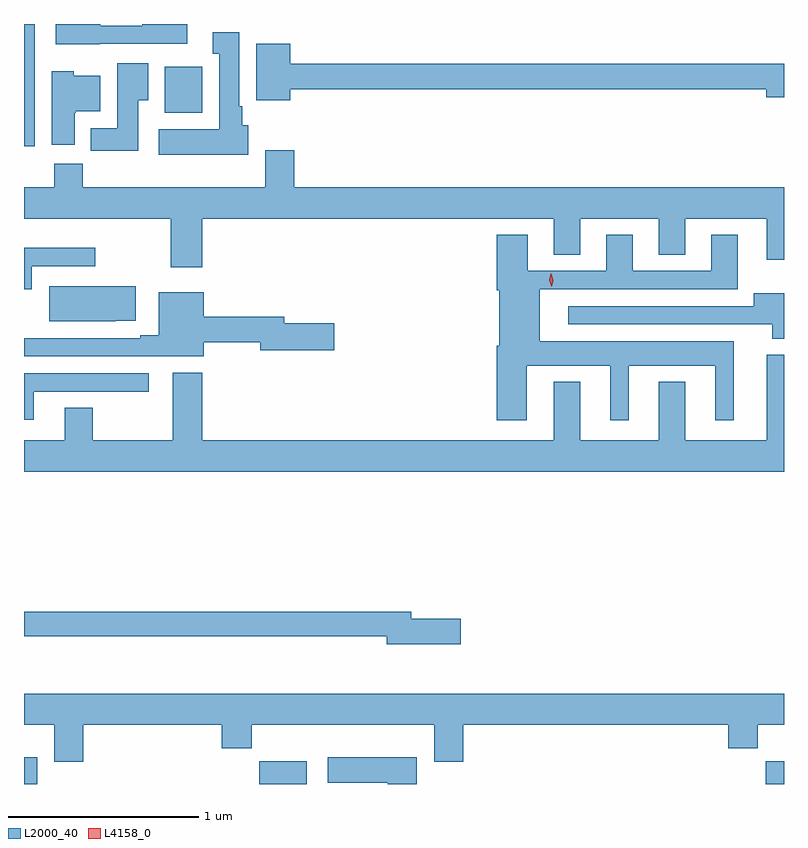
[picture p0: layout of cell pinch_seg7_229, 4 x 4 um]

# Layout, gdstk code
import gdstk
lib = gdstk.Library(unit=1e-6, precision=1e-09)
def R(c, l, rs):  # rectangles x0, y0, x1, y1
    for r in rs: c.add(gdstk.rectangle(r[:2], r[2:], *l))
def P(c, l, *ps):  # polygons
    for p in ps: c.add(gdstk.Polygon(p, *l))
L2000_40 = (2000, 40)
L4158_0 = (4158, 0)

pinch_seg7_229 = lib.new_cell('pinch_seg7_229')
R(pinch_seg7_229, L2000_40, [(841.867,1024.28,841.936,1024.42), (843.106,1024.28,843.355,1024.399), (845.77,1024.28,845.867,1024.399), (841.867,1027.637,841.923,1028.28), (842.609,1027.814,842.806,1028.056)])
P(pinch_seg7_229, L2000_40, [(842.265,1028.175),(842.725,1028.175),(842.725,1028.28),(842.489,1028.28),(842.489,1028.271),(842.269,1028.271),(842.269,1028.28),(842.033,1028.28),(842.033,1028.174),(842.265,1028.174)],
  [(843.046,1027.746),(843.016,1027.746),(843.016,1027.846),(843.001,1027.846),(843.001,1028.236),(842.861,1028.236),(842.861,1028.123),(842.894,1028.123),(842.894,1027.726),(842.577,1027.726),(842.577,1027.592),(843.046,1027.592)],
  [(843.268,1027.936),(845.774,1027.936),(845.774,1027.894),(845.867,1027.894),(845.867,1028.072),(843.268,1028.072),(843.268,1028.176),(843.089,1028.176),(843.089,1027.88),(843.268,1027.88)],
  [(842.467,1027.88),(842.521,1027.88),(842.521,1028.074),(842.357,1028.074),(842.357,1027.732),(842.219,1027.732),(842.219,1027.614),(842.467,1027.614)],
  [(842.134,1027.814),(842.14,1027.814),(842.14,1027.82),(842.269,1027.82),(842.269,1028.008),(842.13,1028.008),(842.13,1028.032),(842.012,1028.032),(842.012,1027.644),(842.134,1027.644)],
  [(842.804,1027.256),(844.655,1027.256),(844.655,1027.066),(844.795,1027.066),(844.795,1027.256),(845.207,1027.256),(845.207,1027.066),(845.347,1027.066),(845.347,1027.256),(845.777,1027.256),(845.777,1027.038),(845.867,1027.038),(845.867,1027.42),(843.29,1027.42),(843.29,1027.615),(843.137,1027.615),(843.137,1027.42),(842.177,1027.42),(842.177,1027.544),(842.026,1027.544),(842.026,1027.42),(841.867,1027.42),(841.867,1027.256),(842.639,1027.256),(842.639,1026.999),(842.804,1026.999)],
  [(844.513,1026.482),(844.952,1026.482),(844.952,1026.195),(845.05,1026.195),(845.05,1026.482),(845.504,1026.482),(845.504,1026.195),(845.602,1026.195),(845.602,1026.61),(844.582,1026.61),(844.582,1026.885),(845.623,1026.885),(845.623,1027.171),(845.483,1027.171),(845.483,1026.981),(845.071,1026.981),(845.071,1027.171),(844.931,1027.171),(844.931,1026.981),(844.519,1026.981),(844.519,1027.171),(844.355,1027.171),(844.355,1026.878),(844.367,1026.878),(844.367,1026.586),(844.355,1026.586),(844.355,1026.195),(844.513,1026.195)],
  [(841.909,1027.005),(842.242,1027.005),(842.242,1027.102),(841.867,1027.102),(841.867,1026.885),(841.909,1026.885)],
  [(842.351,1026.717),(842.454,1026.717),(842.454,1026.901),(842,1026.901),(842,1026.716),(842.351,1026.716)],
  [(842.812,1026.604),(843.11,1026.604),(843.11,1026.562),(843.499,1026.562),(843.499,1026.704),(843.238,1026.704),(843.238,1026.74),(842.812,1026.74),(842.812,1026.868),(842.576,1026.868),(842.576,1026.641),(842.48,1026.641),(842.48,1026.627),(841.867,1026.627),(841.867,1026.531),(842.812,1026.531)],
  [(845.867,1026.862),(845.708,1026.862),(845.708,1026.795),(844.731,1026.795),(844.731,1026.699),(845.804,1026.699),(845.804,1026.624),(845.867,1026.624)],
  [(845.867,1026.538),(845.777,1026.538),(845.777,1026.088),(845.347,1026.088),(845.347,1026.397),(845.207,1026.397),(845.207,1026.088),(844.795,1026.088),(844.795,1026.397),(844.655,1026.397),(844.655,1026.088),(842.804,1026.088),(842.804,1026.445),(842.651,1026.445),(842.651,1026.088),(842.229,1026.088),(842.229,1026.26),(842.081,1026.26),(842.081,1026.088),(841.867,1026.088),(841.867,1025.924),(845.867,1025.924)],
  [(841.918,1026.345),(842.524,1026.345),(842.524,1026.441),(841.867,1026.441),(841.867,1026.198),(841.918,1026.198)],
  [(844.165,1025.15),(843.904,1025.15),(843.904,1025.186),(841.867,1025.186),(841.867,1025.058),(843.776,1025.058),(843.776,1025.015),(844.165,1025.015)],
  [(842.18,1024.592),(842.909,1024.592),(842.909,1024.468),(843.065,1024.468),(843.065,1024.592),(844.025,1024.592),(844.025,1024.398),(844.178,1024.398),(844.178,1024.592),(845.573,1024.592),(845.573,1024.468),(845.729,1024.468),(845.729,1024.592),(845.867,1024.592),(845.867,1024.756),(841.867,1024.756),(841.867,1024.592),(842.027,1024.592),(842.027,1024.398),(842.18,1024.398)],
  [(843.934,1024.42),(843.465,1024.42),(843.465,1024.286),(843.782,1024.286),(843.782,1024.28),(843.934,1024.28)])
P(pinch_seg7_229, L4158_0, [(844.644,1026.896),(844.644,1026.897),(844.632,1026.931),(844.64,1026.966),(844.64,1026.966),(844.641,1026.966),(844.652,1026.932),(844.644,1026.897)])

lib.write_gds('pinch_seg7_229.gds')
